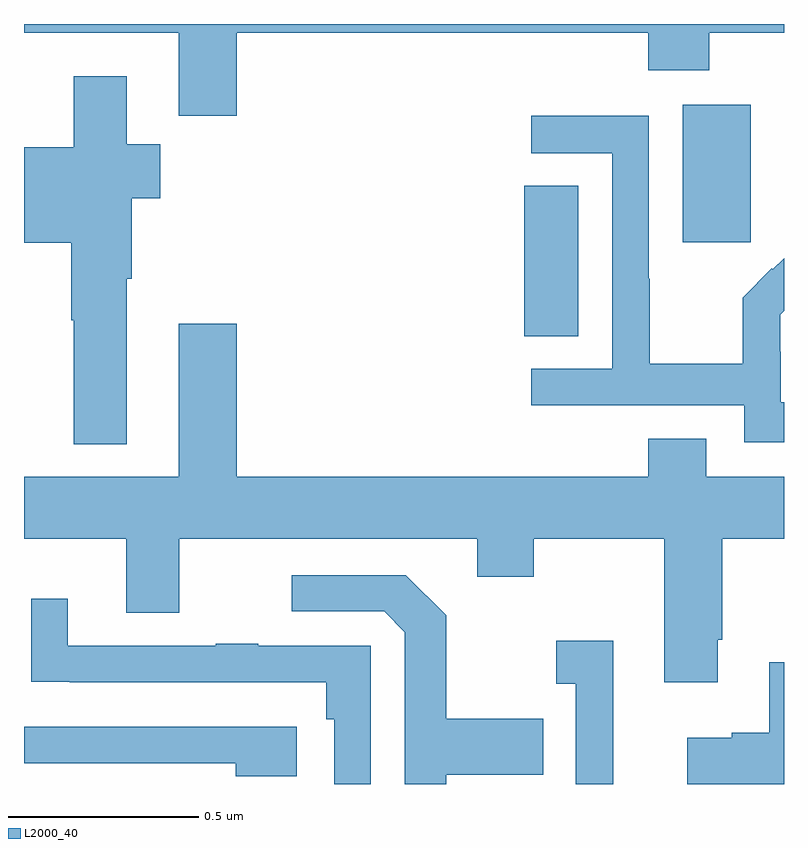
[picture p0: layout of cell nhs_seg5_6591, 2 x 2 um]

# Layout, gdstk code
import gdstk
lib = gdstk.Library(unit=1e-6, precision=1e-09)
def R(c, l, rs):  # rectangles x0, y0, x1, y1
    for r in rs: c.add(gdstk.rectangle(r[:2], r[2:], *l))
def P(c, l, *ps):  # polygons
    for p in ps: c.add(gdstk.Polygon(p, *l))
L2000_40 = (2000, 40)

nhs_seg5_6591 = lib.new_cell('nhs_seg5_6591')
R(nhs_seg5_6591, L2000_40, [(199.316,839.977,199.459,840.374), (199.733,840.225,199.912,840.586)])
P(nhs_seg5_6591, L2000_40, [(198.56,840.776),(199.643,840.776),(199.643,840.677),(199.803,840.677),(199.803,840.776),(200,840.776),(200,840.799),(198,840.799),(198,840.776),(198.407,840.776),(198.407,840.558),(198.56,840.558)],
  [(198.271,840.128),(198.284,840.128),(198.284,840.341),(198.358,840.341),(198.358,840.483),(198.271,840.483),(198.271,840.661),(198.131,840.661),(198.131,840.475),(198,840.475),(198,840.224),(198.124,840.224),(198.124,840.019),(198.131,840.019),(198.131,839.693),(198.271,839.693)],
  [(200,839.803),(199.992,839.803),(199.992,839.937),(199.99,839.937),(199.99,840.034),(200,840.044),(200,840.182),(199.971,840.153),(199.968,840.156),(199.891,840.079),(199.891,839.905),(199.647,839.905),(199.647,840.128),(199.644,840.128),(199.644,840.558),(199.335,840.558),(199.335,840.459),(199.548,840.459),(199.548,839.892),(199.335,839.892),(199.335,839.796),(199.896,839.796),(199.896,839.699),(200,839.699)],
  [(199.825,839.179),(199.838,839.179),(199.838,839.444),(200,839.444),(200,839.608),(199.795,839.608),(199.795,839.707),(199.643,839.707),(199.643,839.608),(198.56,839.608),(198.56,840.01),(198.407,840.01),(198.407,839.608),(198,839.608),(198,839.444),(198.269,839.444),(198.269,839.25),(198.409,839.25),(198.409,839.444),(199.193,839.444),(199.193,839.345),(199.341,839.345),(199.341,839.444),(199.685,839.444),(199.685,839.067),(199.825,839.067)],
  [(199.111,838.823),(199.367,838.823),(199.367,838.971),(199.111,838.971),(199.111,839.243),(199.005,839.349),(198.705,839.349),(198.705,839.253),(198.948,839.253),(199.002,839.199),(199.002,838.799),(199.111,838.799)],
  [(198.912,839.163),(198.617,839.163),(198.617,839.168),(198.505,839.168),(198.505,839.163),(198.115,839.163),(198.115,839.287),(198.019,839.287),(198.019,839.068),(198.121,839.068),(198.121,839.067),(198.796,839.067),(198.796,838.97),(198.816,838.97),(198.816,838.799),(198.912,838.799)],
  [(199.55,839.176),(199.401,839.176),(199.401,839.063),(199.452,839.063),(199.452,838.799),(199.55,838.799)],
  [(200,839.119),(199.961,839.119),(199.961,838.934),(199.862,838.934),(199.862,838.921),(199.746,838.921),(199.746,838.799),(200,838.799)],
  [(198.718,838.95),(198,838.95),(198,838.854),(198.557,838.854),(198.557,838.82),(198.718,838.82)])

lib.write_gds('nhs_seg5_6591.gds')
